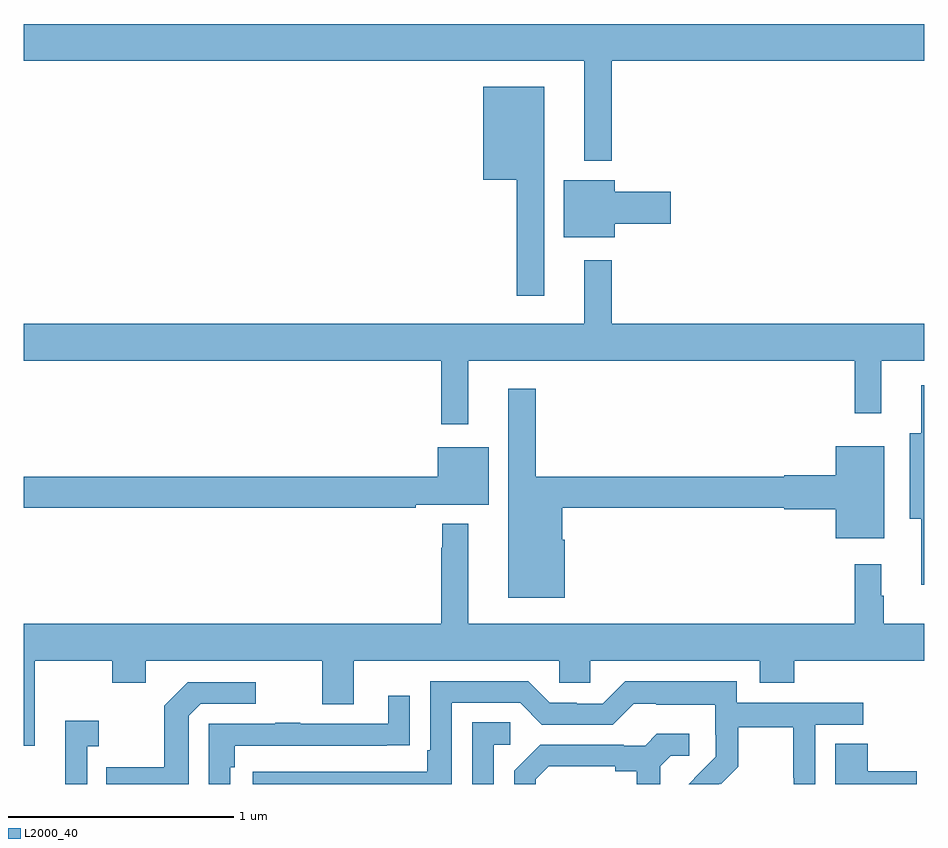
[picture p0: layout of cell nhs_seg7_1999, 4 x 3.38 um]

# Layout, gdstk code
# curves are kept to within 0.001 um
import gdstk
lib = gdstk.Library(unit=1e-6, precision=1e-09)
def P(c, l, *ps):  # polygons
    for p in ps: c.add(gdstk.Polygon(p, *l))
L2000_40 = (2000, 40)

nhs_seg7_1999 = lib.new_cell('nhs_seg7_1999')
P(nhs_seg7_1999, L2000_40, [(245.611,1071.212),(247,1071.212),(247,1071.376),(243,1071.376),(243,1071.212),(245.489,1071.212),(245.489,1070.768),(245.611,1070.768)],
  [(245.311,1071.097),(245.042,1071.097),(245.042,1070.684),(245.19,1070.684),(245.19,1070.169),(245.311,1070.169)],
  [(245.626,1070.488),(245.875,1070.488),(245.875,1070.63),(245.626,1070.63),(245.626,1070.683),(245.399,1070.683),(245.399,1070.429),(245.626,1070.429)],
  [(244.975,1069.88),(246.691,1069.88),(246.691,1069.647),(246.809,1069.647),(246.809,1069.88),(247,1069.88),(247,1070.044),(245.611,1070.044),(245.611,1070.326),(245.489,1070.326),(245.489,1070.044),(243,1070.044),(243,1069.88),(244.854,1069.88),(244.854,1069.599),(244.975,1069.599)],
  [(247,1069.771),(246.986,1069.771),(246.986,1069.558),(246.935,1069.558),(246.935,1069.178),(246.986,1069.178),(246.986,1068.884),(247,1068.884)],
  [(245.404,1069.086),(245.392,1069.086),(245.392,1069.228),(246.378,1069.228),(246.378,1069.22),(246.608,1069.22),(246.608,1069.091),(246.823,1069.091),(246.823,1069.501),(246.608,1069.501),(246.608,1069.372),(246.378,1069.372),(246.378,1069.364),(245.275,1069.364),(245.275,1069.756),(245.153,1069.756),(245.153,1068.827),(245.404,1068.827)],
  [(244.742,1069.241),(245.065,1069.241),(245.065,1069.495),(244.838,1069.495),(244.838,1069.364),(243,1069.364),(243,1069.228),(244.742,1069.228)],
  [(243.049,1068.548),(243.394,1068.548),(243.394,1068.449),(243.541,1068.449),(243.541,1068.548),(244.325,1068.548),(244.325,1068.354),(244.465,1068.354),(244.465,1068.548),(245.379,1068.548),(245.379,1068.45),(245.517,1068.45),(245.517,1068.548),(246.269,1068.548),(246.269,1068.449),(246.422,1068.449),(246.422,1068.548),(247,1068.548),(247,1068.712),(246.82,1068.712),(246.82,1068.836),(246.808,1068.836),(246.808,1068.976),(246.691,1068.976),(246.691,1068.712),(244.975,1068.712),(244.975,1069.156),(244.86,1069.156),(244.86,1069.049),(244.854,1069.049),(244.854,1068.712),(243,1068.712),(243,1068.171),(243.049,1068.171)],
  [(244.902,1068.36),(245.205,1068.36),(245.301,1068.264),(245.616,1068.264),(245.709,1068.357),(245.809,1068.357),(245.809,1068.353),(246.072,1068.353),(246.072,1068.219),(246.074,1068.219),(246.074,1068.122),(245.954,1068),(246.09,1068),(246.093,1068.003),(246.096,1068),(246.173,1068.077),(246.173,1068.252),(246.418,1068.252),(246.418,1068.028),(246.42,1068.028),(246.42,1068),(246.516,1068),(246.516,1068.264),(246.73,1068.264),(246.73,1068.36),(246.168,1068.36),(246.168,1068.457),(245.671,1068.457),(245.571,1068.357),(245.456,1068.357),(245.456,1068.36),(245.337,1068.36),(245.241,1068.456),(244.806,1068.456),(244.806,1068.151),(244.793,1068.151),(244.793,1068.054),(244.017,1068.054),(244.017,1068),(244.902,1068)],
  [(243.732,1068.303),(243.786,1068.357),(244.03,1068.357),(244.03,1068.453),(243.729,1068.453),(243.624,1068.347),(243.624,1068.075),(243.367,1068.075),(243.367,1068),(243.732,1068)],
  [(243.918,1068.074),(243.938,1068.074),(243.938,1068.171),(244.613,1068.171),(244.613,1068.172),(244.715,1068.172),(244.715,1068.391),(244.619,1068.391),(244.619,1068.267),(244.229,1068.267),(244.229,1068.272),(244.117,1068.272),(244.117,1068.267),(243.822,1068.267),(243.822,1068),(243.918,1068)],
  [(243.282,1068.167),(243.334,1068.167),(243.334,1068.28),(243.185,1068.28),(243.185,1068),(243.282,1068)],
  [(245.088,1068.174),(245.161,1068.174),(245.161,1068.275),(244.992,1068.275),(244.992,1068),(245.088,1068)],
  [(245.275,1068.021),(245.332,1068.078),(245.627,1068.078),(245.627,1068.056),(245.723,1068.056),(245.723,1068),(245.827,1068),(245.827,1068.079),(245.874,1068.126),(245.956,1068.126),(245.956,1068.223),(245.812,1068.223),(245.76,1068.171),(245.666,1068.171),(245.666,1068.174),(245.294,1068.174),(245.178,1068.058),(245.178,1068),(245.275,1068)],
  [(246.967,1068.056),(246.749,1068.056),(246.749,1068.179),(246.605,1068.179),(246.605,1068),(246.967,1068)])

lib.write_gds('nhs_seg7_1999.gds')
